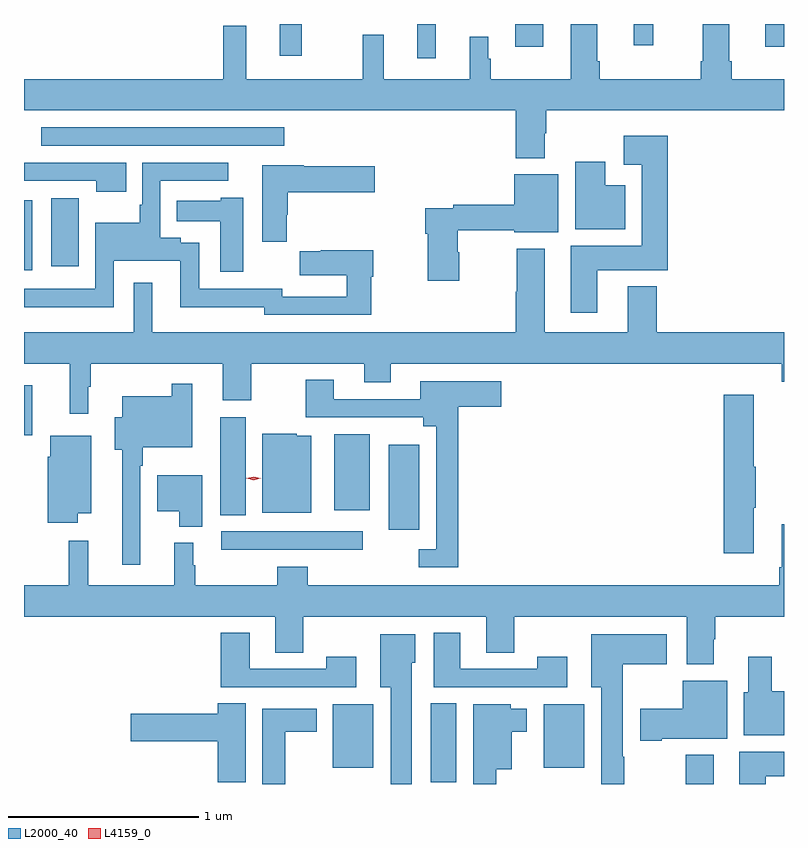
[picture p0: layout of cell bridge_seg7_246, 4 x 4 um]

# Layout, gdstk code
import gdstk
lib = gdstk.Library(unit=1e-6, precision=1e-09)
def R(c, l, rs):  # rectangles x0, y0, x1, y1
    for r in rs: c.add(gdstk.rectangle(r[:2], r[2:], *l))
def P(c, l, *ps):  # polygons
    for p in ps: c.add(gdstk.Polygon(p, *l))
L2000_40 = (2000, 40)
L4159_0 = (4159, 0)

bridge_seg7_246 = lib.new_cell('bridge_seg7_246')
R(bridge_seg7_246, L2000_40, [(232.414,1047.687,232.561,1047.841), (231.074,1047.697,231.208,1048.112), (230.558,1047.773,230.77,1048.108), (231.668,1047.773,231.88,1048.108), (229.971,1048.92,230.716,1049.016), (230.852,1049.025,231.013,1049.473), (229.964,1049.101,230.098,1049.617), (230.564,1049.129,230.752,1049.527), (228.932,1049.522,228.976,1049.785), (228.932,1050.39,228.976,1050.76), (229.076,1050.411,229.219,1050.769), (229.023,1051.047,230.302,1051.143), (231.002,1051.506,231.099,1051.687), (230.279,1051.521,230.393,1051.687), (231.518,1051.566,231.664,1051.687), (232.832,1051.566,232.932,1051.687), (232.142,1051.575,232.244,1051.687)])
P(bridge_seg7_246, L2000_40, [(231.673,1051.112),(231.681,1051.112),(231.681,1051.232),(232.932,1051.232),(232.932,1051.396),(232.658,1051.396),(232.658,1051.492),(232.645,1051.492),(232.645,1051.687),(232.505,1051.687),(232.505,1051.492),(232.493,1051.492),(232.493,1051.396),(231.962,1051.396),(231.962,1051.492),(231.949,1051.492),(231.949,1051.687),(231.809,1051.687),(231.809,1051.396),(231.388,1051.396),(231.388,1051.503),(231.376,1051.503),(231.376,1051.621),(231.278,1051.621),(231.278,1051.396),(230.825,1051.396),(230.825,1051.63),(230.715,1051.63),(230.715,1051.396),(230.101,1051.396),(230.101,1051.678),(229.98,1051.678),(229.98,1051.396),(228.932,1051.396),(228.932,1051.232),(231.521,1051.232),(231.521,1050.98),(231.673,1050.98)],
  [(231.949,1050.392),(232.319,1050.392),(232.319,1051.099),(232.089,1051.099),(232.089,1050.947),(232.184,1050.947),(232.184,1050.52),(231.809,1050.52),(231.809,1050.168),(231.949,1050.168)],
  [(232.096,1050.838),(231.991,1050.838),(231.991,1050.961),(231.833,1050.961),(231.833,1050.608),(232.096,1050.608)],
  [(229.469,1050.957),(228.932,1050.957),(228.932,1050.861),(229.313,1050.861),(229.313,1050.804),(229.469,1050.804)],
  [(230.759,1050.358),(230.77,1050.358),(230.77,1050.495),(230.494,1050.495),(230.494,1050.492),(230.382,1050.492),(230.382,1050.365),(230.631,1050.365),(230.631,1050.252),(230.292,1050.252),(230.292,1050.294),(229.855,1050.294),(229.855,1050.537),(229.758,1050.537),(229.758,1050.562),(229.65,1050.562),(229.65,1050.861),(230.008,1050.861),(230.008,1050.957),(229.554,1050.957),(229.554,1050.736),(229.542,1050.736),(229.542,1050.64),(229.308,1050.64),(229.308,1050.294),(228.932,1050.294),(228.932,1050.197),(229.404,1050.197),(229.404,1050.44),(229.754,1050.44),(229.754,1050.197),(230.196,1050.197),(230.196,1050.156),(230.759,1050.156)],
  [(230.316,1050.683),(230.321,1050.683),(230.321,1050.802),(230.779,1050.802),(230.779,1050.939),(230.404,1050.939),(230.404,1050.943),(230.186,1050.943),(230.186,1050.54),(230.316,1050.54)],
  [(231.222,1050.486),(231.214,1050.486),(231.214,1050.601),(231.512,1050.601),(231.512,1050.59),(231.745,1050.59),(231.745,1050.895),(231.512,1050.895),(231.512,1050.737),(231.19,1050.737),(231.19,1050.717),(231.044,1050.717),(231.044,1050.584),(231.056,1050.584),(231.056,1050.336),(231.222,1050.336)],
  [(230.086,1050.772),(229.968,1050.772),(229.968,1050.757),(229.737,1050.757),(229.737,1050.65),(229.964,1050.65),(229.964,1050.384),(230.086,1050.384)],
  [(232.921,1049.804),(232.932,1049.804),(232.932,1050.064),(232.262,1050.064),(232.262,1050.307),(232.109,1050.307),(232.109,1050.064),(231.673,1050.064),(231.673,1050.505),(231.526,1050.505),(231.526,1050.279),(231.521,1050.279),(231.521,1050.064),(229.606,1050.064),(229.606,1050.325),(229.509,1050.325),(229.509,1050.064),(228.932,1050.064),(228.932,1049.9),(229.172,1049.9),(229.172,1049.637),(229.27,1049.637),(229.27,1049.777),(229.282,1049.777),(229.282,1049.9),(229.979,1049.9),(229.979,1049.706),(230.127,1049.706),(230.127,1049.9),(230.723,1049.9),(230.723,1049.801),(230.863,1049.801),(230.863,1049.9),(232.921,1049.9)],
  [(231.218,1049.672),(231.445,1049.672),(231.445,1049.806),(231.017,1049.806),(231.017,1049.712),(230.563,1049.712),(230.563,1049.815),(230.416,1049.815),(230.416,1049.616),(231.032,1049.616),(231.032,1049.57),(231.102,1049.57),(231.102,1048.923),(231.009,1048.923),(231.009,1048.827),(231.218,1048.827)],
  [(229.545,1049.363),(229.558,1049.363),(229.558,1049.459),(229.818,1049.459),(229.818,1049.794),(229.71,1049.794),(229.71,1049.728),(229.448,1049.728),(229.448,1049.617),(229.409,1049.617),(229.409,1049.447),(229.448,1049.447),(229.448,1048.842),(229.545,1048.842)],
  [(232.774,1049.14),(232.782,1049.14),(232.782,1049.357),(232.774,1049.357),(232.774,1049.737),(232.616,1049.737),(232.616,1048.902),(232.774,1048.902)],
  [(230.443,1049.521),(230.367,1049.521),(230.367,1049.53),(230.186,1049.53),(230.186,1049.114),(230.443,1049.114)],
  [(229.216,1049.111),(229.285,1049.111),(229.285,1049.521),(229.07,1049.521),(229.07,1049.409),(229.058,1049.409),(229.058,1049.061),(229.216,1049.061)],
  [(229.87,1049.311),(229.634,1049.311),(229.634,1049.123),(229.748,1049.123),(229.748,1049.042),(229.87,1049.042)],
  [(232.561,1048.448),(232.569,1048.448),(232.569,1048.568),(232.932,1048.568),(232.932,1049.053),(232.919,1049.053),(232.919,1048.828),(232.907,1048.828),(232.907,1048.732),(230.426,1048.732),(230.426,1048.831),(230.266,1048.831),(230.266,1048.732),(229.834,1048.732),(229.834,1048.839),(229.822,1048.839),(229.822,1048.957),(229.724,1048.957),(229.724,1048.732),(229.271,1048.732),(229.271,1048.966),(229.168,1048.966),(229.168,1048.732),(228.932,1048.732),(228.932,1048.568),(230.255,1048.568),(230.255,1048.378),(230.403,1048.378),(230.403,1048.568),(231.365,1048.568),(231.365,1048.378),(231.513,1048.378),(231.513,1048.568),(232.421,1048.568),(232.421,1048.316),(232.561,1048.316)],
  [(230.68,1048.357),(230.524,1048.357),(230.524,1048.293),(230.119,1048.293),(230.119,1048.483),(229.967,1048.483),(229.967,1048.197),(230.68,1048.197)],
  [(231.79,1048.357),(231.634,1048.357),(231.634,1048.293),(231.229,1048.293),(231.229,1048.483),(231.089,1048.483),(231.089,1048.197),(231.79,1048.197)],
  [(232.092,1047.83),(232.084,1047.83),(232.084,1048.316),(232.315,1048.316),(232.315,1048.474),(231.917,1048.474),(231.917,1048.196),(231.971,1048.196),(231.971,1047.687),(232.092,1047.687)],
  [(230.974,1048.326),(230.992,1048.326),(230.992,1048.474),(230.807,1048.474),(230.807,1048.196),(230.861,1048.196),(230.861,1047.687),(230.974,1047.687)],
  [(232.932,1048.174),(232.867,1048.174),(232.867,1048.357),(232.745,1048.357),(232.745,1048.17),(232.721,1048.17),(232.721,1047.944),(232.932,1047.944)],
  [(232.288,1047.926),(232.633,1047.926),(232.633,1048.231),(232.4,1048.231),(232.4,1048.084),(232.176,1048.084),(232.176,1047.914),(232.288,1047.914)],
  [(230.098,1048.112),(229.952,1048.112),(229.952,1048.058),(229.494,1048.058),(229.494,1047.911),(229.952,1047.911),(229.952,1047.697),(230.098,1047.697)],
  [(231.418,1047.764),(231.499,1047.764),(231.499,1047.962),(231.577,1047.962),(231.577,1048.084),(231.495,1048.084),(231.495,1048.108),(231.296,1048.108),(231.296,1047.687),(231.418,1047.687)],
  [(230.308,1047.962),(230.473,1047.962),(230.473,1048.084),(230.186,1048.084),(230.186,1047.687),(230.308,1047.687)],
  [(232.837,1047.728),(232.932,1047.728),(232.932,1047.856),(232.697,1047.856),(232.697,1047.687),(232.837,1047.687)])
P(bridge_seg7_246, L4159_0, [(230.14,1049.285),(230.101,1049.295),(230.1,1049.295),(230.101,1049.295),(230.14,1049.305),(230.179,1049.295),(230.179,1049.295),(230.179,1049.295)])

lib.write_gds('bridge_seg7_246.gds')
